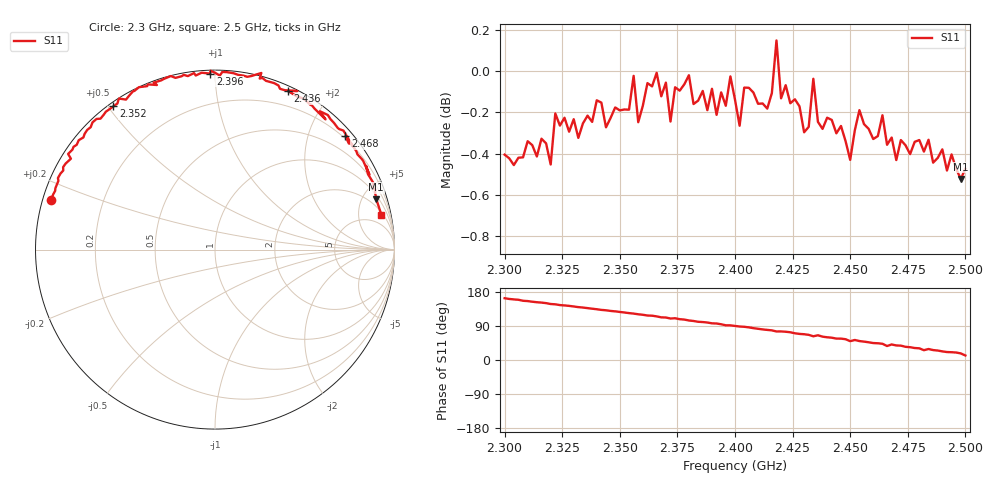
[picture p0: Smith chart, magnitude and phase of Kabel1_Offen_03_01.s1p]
# HZ S RI R 50
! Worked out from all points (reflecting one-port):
!   101 points, 2.3 GHz to 2.5 GHz, reference 50 ohm
!   lowest |S11| = -0.5 dB at 2.498 GHz (marker M1), VSWR 33.20, Z = 63.5 + j315 ohm
!   phase of S11 starts at 163 deg and turns -151 deg over the sweep
!   S11 on the Smith chart (normalised r, x): 2.3 GHz: 0.02, +0.15; 2.352 GHz: 0.01, +0.52; 2.396 GHz: 0.02, +0.97; 2.436 GHz: 0.05, +1.56; 2.468 GHz: 0.15, +2.67; 2.5 GHz: 2.37, +8.97
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2.3e9  -0.913 0.2781
2.326e9  -0.7883 0.5727
2.35e9  -0.5865 0.7831
2.352e9  -0.5657 0.7988
2.376e9  -0.3008 0.9424
2.392e9  -0.1072 0.97
2.396e9  -0.0265 0.9805
2.4e9  0.00222 0.9842
2.416e9  0.2024 0.9669
2.418e9  0.258 0.9841
2.422e9  0.2637 0.9566
2.426e9  0.3288 0.9279
2.432e9  0.3886 0.8881
2.434e9  0.4591 0.8837
2.436e9  0.4067 0.8829
2.44e9  0.4877 0.8435
2.448e9  0.5542 0.7859
2.45e9  0.6157 0.7256
2.452e9  0.5846 0.7708
2.464e9  0.7158 0.663
2.466e9  0.7679 0.5755
2.468e9  0.727 0.6324
2.476e9  0.7938 0.5304
2.48e9  0.8262 0.4933
2.482e9  0.8603 0.417
2.484e9  0.8416 0.4668
2.498e9  0.8986 0.2812
2.5e9  0.9266 0.1955
